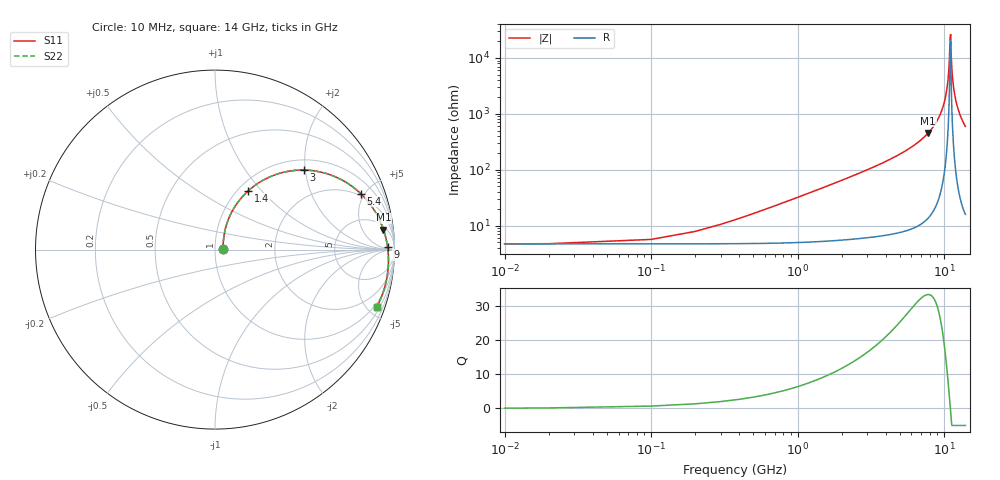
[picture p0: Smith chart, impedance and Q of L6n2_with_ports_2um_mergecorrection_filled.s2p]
#  GHZ S DB R 50.0
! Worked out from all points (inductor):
!   142 points, 10 MHz to 14 GHz, reference 50 ohm
!   read as one part in series: L = 4.98 nH near 500 MHz
!   highest Q = 33.3 at 7.8 GHz (marker M1), where L = 9.23 nH
!   self-resonance near 11 GHz
!   S11 on the Smith chart (normalised r, x): 10 MHz: 1.09, +0.01; 1.4 GHz: 1.11, +0.85; 3 GHz: 1.24, +1.97; 5.4 GHz: 1.83, +4.69; 9 GHz: 44, +18; 14 GHz: 0.76, -5.70
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0.01  -26.97 3.3  -0.40 -0.2  -0.40 -0.2  -26.97 3.3
0.6  -15.30 65.9  -0.59 -10.9  -0.59 -10.9  -15.31 65.9
1.4  -8.50 60.5  -1.21 -24.0  -1.21 -24.0  -8.50 60.5
2.4  -4.80 48.4  -2.43 -38.1  -2.43 -38.1  -4.80 48.4
3  -3.54 41.8  -3.33 -45.4  -3.33 -45.4  -3.54 41.8
4.7  -1.63 26.2  -6.28 -61.7  -6.28 -61.7  -1.63 26.2
5.4  -1.22 21.1  -7.66 -67.1  -7.66 -67.1  -1.22 21.1
7.1  -0.63 10.5  -11.55 -77.8  -11.55 -77.8  -0.63 10.5
7.8  -0.49 6.8  -13.52 -81.6  -13.52 -81.6  -0.49 6.8
9  -0.34 0.9  -17.94 -87.2  -17.94 -87.2  -0.34 0.9
9.4  -0.31 -0.9  -19.95 -88.8  -19.95 -88.8  -0.31 -0.9
10  -0.28 -3.6  -24.02 -90.6  -24.02 -90.6  -0.28 -3.6
10.5  -0.26 -5.7  -29.68 -90.4  -29.68 -90.4  -0.26 -5.7
10.8  -0.26 -7.0  -36.32 -86.0  -36.32 -86.0  -0.26 -7.0
10.9  -0.26 -7.4  -40.34 -80.0  -40.34 -80.0  -0.26 -7.4
11  -0.26 -7.8  -47.09 -57.9  -47.09 -57.9  -0.26 -7.8
11.1  -0.26 -8.2  -48.71 31.8  -48.71 31.8  -0.26 -8.2
11.2  -0.26 -8.6  -41.37 62.3  -41.37 62.3  -0.26 -8.6
11.3  -0.26 -9.1  -37.06 69.6  -37.06 69.6  -0.26 -9.0
11.7  -0.26 -10.7  -28.80 75.1  -28.80 75.1  -0.26 -10.7
12.6  -0.29 -14.2  -21.40 73.9  -21.40 73.9  -0.29 -14.2
14  -0.39 -19.6  -16.05 69.2  -16.05 69.2  -0.39 -19.6
